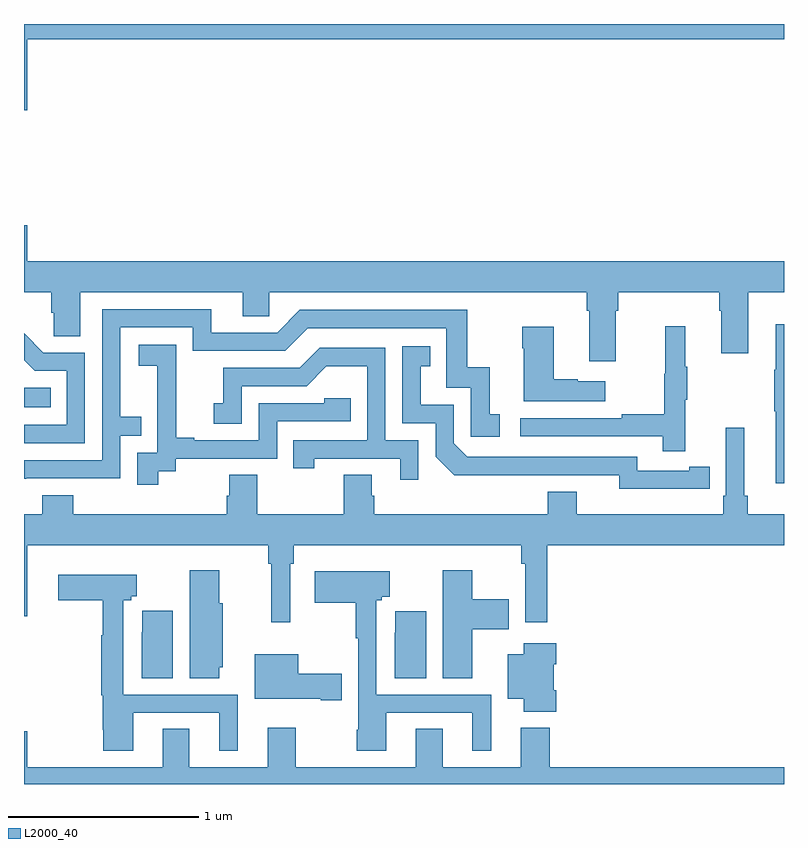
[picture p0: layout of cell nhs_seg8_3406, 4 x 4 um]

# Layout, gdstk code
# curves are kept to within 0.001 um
import gdstk
lib = gdstk.Library(unit=1e-6, precision=1e-09)
def R(c, l, rs):  # rectangles x0, y0, x1, y1
    for r in rs: c.add(gdstk.rectangle(r[:2], r[2:], *l))
def P(c, l, *ps):  # polygons
    for p in ps: c.add(gdstk.Polygon(p, *l))
L2000_40 = (2000, 40)

nhs_seg8_3406 = lib.new_cell('nhs_seg8_3406')
R(nhs_seg8_3406, L2000_40, [(321,1127.882,321.14,1127.986)])
P(nhs_seg8_3406, L2000_40, [(321.016,1129.82),(325,1129.82),(325,1129.9),(321,1129.9),(321,1129.446),(321.016,1129.446)],
  [(324.115,1128.392),(324.128,1128.392),(324.128,1128.488),(324.659,1128.488),(324.659,1128.392),(324.671,1128.392),(324.671,1128.168),(324.811,1128.168),(324.811,1128.488),(325,1128.488),(325,1128.652),(321.016,1128.652),(321.016,1128.841),(321,1128.841),(321,1128.488),(321.143,1128.488),(321.143,1128.379),(321.156,1128.379),(321.156,1128.256),(321.295,1128.256),(321.295,1128.488),(322.151,1128.488),(322.151,1128.361),(322.29,1128.361),(322.29,1128.488),(323.963,1128.488),(323.963,1128.392),(323.975,1128.392),(323.975,1128.126),(324.115,1128.126)],
  [(321.011,1127.508),(321.507,1127.508),(321.507,1127.733),(321.617,1127.733),(321.617,1127.834),(321.507,1127.834),(321.507,1128.303),(321.888,1128.303),(321.888,1128.18),(322.374,1128.18),(322.494,1128.3),(323.223,1128.3),(323.223,1127.985),(323.352,1127.985),(323.352,1127.727),(323.503,1127.727),(323.503,1127.847),(323.45,1127.847),(323.45,1128.094),(323.332,1128.094),(323.332,1128.396),(322.452,1128.396),(322.332,1128.276),(321.985,1128.276),(321.985,1128.399),(321.411,1128.399),(321.411,1127.604),(321,1127.604),(321,1127.507)],
  [(325,1128.319),(324.956,1128.319),(324.956,1128.08),(324.949,1128.08),(324.949,1127.863),(324.956,1127.863),(324.956,1127.484),(325,1127.484)],
  [(324.479,1127.923),(324.49,1127.923),(324.49,1128.097),(324.479,1128.097),(324.479,1128.31),(324.376,1128.31),(324.376,1128.06),(324.369,1128.06),(324.369,1127.846),(324.145,1127.846),(324.145,1127.826),(323.613,1127.826),(323.613,1127.73),(324.361,1127.73),(324.361,1127.652),(324.479,1127.652)],
  [(324.058,1128.019),(323.915,1128.019),(323.915,1128.029),(323.788,1128.029),(323.788,1128.307),(323.623,1128.307),(323.623,1128.194),(323.63,1128.194),(323.63,1127.915),(324.058,1127.915)],
  [(321.321,1128.171),(321.102,1128.171),(321,1128.273),(321,1128.131),(321.056,1128.075),(321.225,1128.075),(321.225,1127.79),(321,1127.79),(321,1127.694),(321.321,1127.694)],
  [(321.706,1127.545),(321.798,1127.545),(321.798,1127.613),(322.332,1127.613),(322.332,1127.808),(322.721,1127.808),(322.721,1127.931),(322.581,1127.931),(322.581,1127.904),(322.236,1127.904),(322.236,1127.709),(321.895,1127.709),(321.895,1127.722),(321.8,1127.722),(321.8,1128.005),(321.801,1128.005),(321.801,1128.211),(321.603,1128.211),(321.603,1128.101),(321.701,1128.101),(321.701,1127.873),(321.702,1127.873),(321.702,1127.643),(321.597,1127.643),(321.597,1127.475),(321.706,1127.475)],
  [(324.5,1127.454),(324.608,1127.454),(324.608,1127.57),(324.5,1127.57),(324.5,1127.55),(324.228,1127.55),(324.228,1127.622),(323.334,1127.622),(323.262,1127.694),(323.262,1127.895),(323.089,1127.895),(323.089,1128.099),(323.138,1128.099),(323.138,1128.205),(322.992,1128.205),(322.992,1127.799),(323.166,1127.799),(323.166,1127.622),(323.264,1127.525),(324.132,1127.526),(324.132,1127.453)],
  [(323.076,1127.709),(322.902,1127.709),(322.902,1128.195),(322.556,1128.195),(322.451,1128.09),(322.048,1128.09),(322.048,1127.905),(321.999,1127.905),(321.999,1127.796),(322.146,1127.796),(322.146,1127.994),(322.488,1127.994),(322.592,1128.098),(322.806,1128.098),(322.806,1127.709),(322.417,1127.709),(322.417,1127.562),(322.528,1127.562),(322.528,1127.613),(322.979,1127.613),(322.979,1127.502),(323.076,1127.502)],
  [(322.401,1127.06),(322.421,1127.06),(322.421,1127.156),(323.617,1127.156),(323.617,1127.06),(323.637,1127.06),(323.637,1126.752),(323.753,1126.752),(323.753,1127.156),(325,1127.156),(325,1127.32),(324.809,1127.32),(324.809,1127.416),(324.79,1127.416),(324.79,1127.776),(324.693,1127.776),(324.693,1127.416),(324.68,1127.416),(324.68,1127.32),(323.908,1127.32),(323.908,1127.437),(323.756,1127.437),(323.756,1127.32),(322.844,1127.32),(322.844,1127.418),(322.831,1127.418),(322.831,1127.528),(322.684,1127.528),(322.684,1127.32),(322.227,1127.32),(322.227,1127.528),(322.079,1127.528),(322.079,1127.418),(322.067,1127.418),(322.067,1127.32),(321.26,1127.32),(321.26,1127.419),(321.095,1127.419),(321.095,1127.32),(321,1127.32),(321,1126.782),(321.016,1126.782),(321.016,1127.156),(322.285,1127.156),(322.285,1127.06),(322.3,1127.06),(322.3,1126.752),(322.401,1126.752)],
  [(322.027,1126.515),(322.045,1126.515),(322.045,1126.851),(322.027,1126.851),(322.027,1127.026),(321.872,1127.026),(321.872,1126.456),(322.027,1126.456)],
  [(323.359,1126.715),(323.552,1126.715),(323.552,1126.873),(323.359,1126.873),(323.359,1127.026),(323.204,1127.026),(323.204,1126.456),(323.359,1126.456)],
  [(322.906,1126.275),(323.36,1126.275),(323.36,1126.074),(323.458,1126.074),(323.458,1126.371),(322.854,1126.371),(322.854,1126.866),(322.882,1126.866),(322.882,1126.885),(322.925,1126.885),(322.925,1127.02),(322.53,1127.02),(322.53,1126.855),(322.746,1126.855),(322.746,1126.666),(322.758,1126.666),(322.758,1126.186),(322.75,1126.186),(322.75,1126.074),(322.906,1126.074)],
  [(321.574,1126.275),(322.028,1126.275),(322.028,1126.074),(322.126,1126.074),(322.126,1126.371),(321.522,1126.371),(321.522,1126.868),(321.564,1126.868),(321.564,1126.888),(321.593,1126.888),(321.593,1127.002),(321.18,1127.002),(321.18,1126.868),(321.414,1126.868),(321.414,1126.684),(321.406,1126.684),(321.406,1126.368),(321.414,1126.368),(321.414,1126.186),(321.418,1126.186),(321.418,1126.074),(321.574,1126.074)],
  [(321.784,1126.813),(321.623,1126.813),(321.623,1126.7),(321.62,1126.7),(321.62,1126.456),(321.784,1126.456)],
  [(323.116,1126.81),(322.954,1126.81),(322.954,1126.697),(322.952,1126.697),(322.952,1126.456),(323.116,1126.456)],
  [(323.801,1126.393),(323.788,1126.393),(323.788,1126.529),(323.801,1126.529),(323.801,1126.642),(323.63,1126.642),(323.63,1126.582),(323.546,1126.582),(323.546,1126.349),(323.63,1126.349),(323.63,1126.281),(323.801,1126.281)],
  [(322.673,1126.479),(322.444,1126.479),(322.444,1126.582),(322.214,1126.582),(322.214,1126.349),(322.562,1126.349),(322.562,1126.342),(322.673,1126.342)],
  [(325,1125.988),(323.768,1125.988),(323.768,1126.195),(323.615,1126.195),(323.615,1125.988),(323.203,1125.988),(323.203,1126.19),(323.063,1126.19),(323.063,1125.988),(322.431,1125.988),(322.431,1126.195),(322.283,1126.195),(322.283,1125.988),(321.871,1125.988),(321.871,1126.19),(321.731,1126.19),(321.731,1125.988),(321.016,1125.988),(321.016,1126.177),(321,1126.177),(321,1125.9),(325,1125.9)])

lib.write_gds('nhs_seg8_3406.gds')
